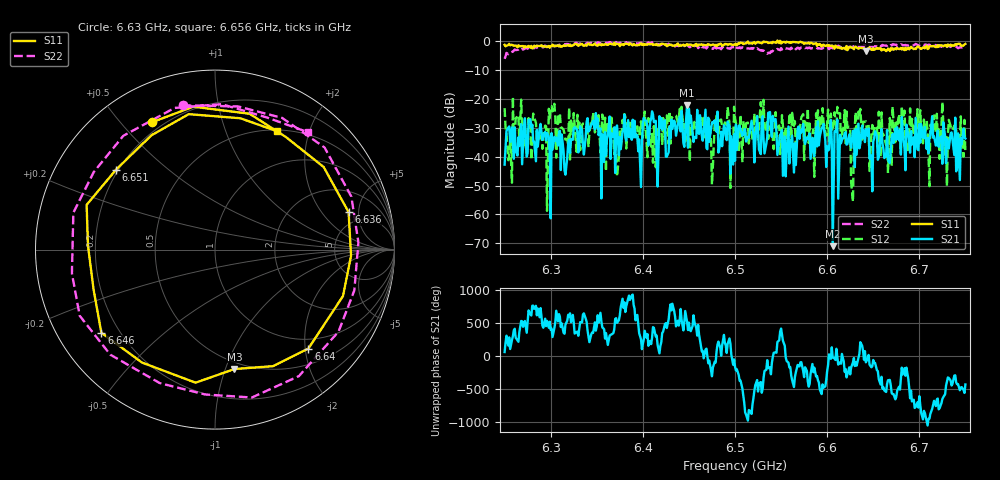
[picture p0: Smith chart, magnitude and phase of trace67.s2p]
# Hz S RI R 50
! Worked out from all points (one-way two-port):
!   401 points, 6.25 GHz to 6.75 GHz, reference 50 ohm
!   highest |S21| = -22.19 dB at 6.448 GHz (marker M1); lowest = -71.0 dB at 6.606 GHz (marker M2)
!   lowest |S11| = -3.4 dB at 6.642 GHz (marker M3), VSWR 5.14, Z = 22 - j53.7 ohm
!   |S11| at or under -10 dB: nowhere
!   |S22| runs from -6.1 to -0.2 dB; largest |S21 - S12| = 0.13
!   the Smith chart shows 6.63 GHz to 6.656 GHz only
!   S11 on the Smith chart (normalised r, x): 6.63 GHz: 0.16, +0.61; 6.636 GHz: 3.69, +3.83; 6.64 GHz: 0.80, -2.06; 6.646 GHz: 0.13, -0.32; 6.651 GHz: 0.19, +0.34; 6.656 GHz: 0.52, +1.53
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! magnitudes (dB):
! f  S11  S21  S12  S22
! 6.25 GHz  -1.2  -42.8  -23.2  -6.1
! 6.255 GHz  -0.9  -29.5  -39.8  -4.0
! 6.265 GHz  -1.4  -33.3  -25.5  -2.9
! 6.294 GHz  -1.8  -31.4  -29.2  -1.5
! 6.301 GHz  -1.7  -31.8  -22.4  -1.5
! 6.334 GHz  -0.9  -30.7  -28.9  -1.3
! 6.418 GHz  -1.4  -26.0  -30.8  -1.1
! 6.448 GHz  -1.0  -22.2  -24.6  -1.2
! 6.5 GHz  -1.2  -41.4  -26.6  -1.9
! 6.539 GHz  -0.5  -30.1  -29.2  -3.5
! 6.584 GHz  -0.7  -33.5  -32.4  -2.4
! 6.606 GHz  -1.7  -71.0  -31.2  -2.5
! 6.63 GHz  -2.0  -43.6  -29.4  -1.7
! 6.636 GHz  -2.2  -35.5  -23.4  -1.9
! 6.64 GHz  -2.4  -31.0  -27.9  -1.5
! 6.642 GHz  -3.4  -30.4  -27.8  -1.8
! 6.646 GHz  -2.1  -40.7  -45.0  -1.5
! 6.651 GHz  -3.0  -33.5  -30.7  -1.8
! 6.656 GHz  -2.6  -40.2  -24.5  -1.6
! 6.668 GHz  -3.4  -42.3  -26.6  -1.7
! 6.7 GHz  -2.1  -28.6  -29.7  -1.5
! 6.75 GHz  -0.9  -33.7  -38.9  -2.1
